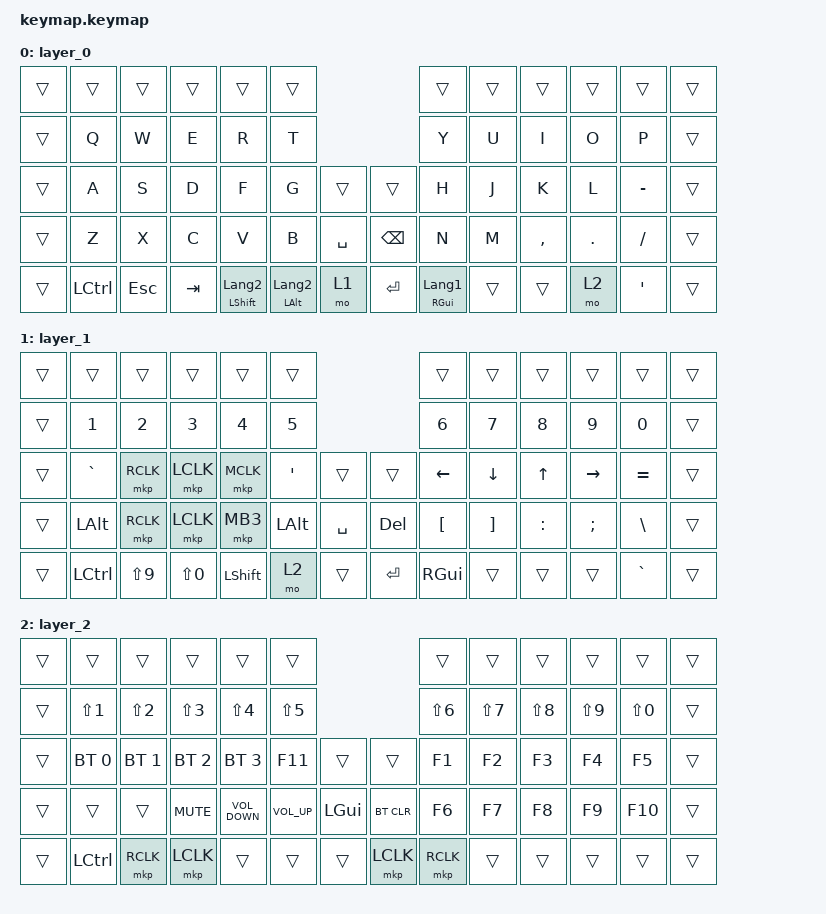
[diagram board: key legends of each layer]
#define ZMK_POINTING_DEFAULT_MOVE_VAL 600  // default: 600
#define ZMK_POINTING_DEFAULT_SCRL_VAL 10    // default: 10

#include <behaviors.dtsi>
#include <dt-bindings/zmk/bt.h>
#include <dt-bindings/zmk/keys.h>
#include <dt-bindings/zmk/pointing.h>

/ {
    combos {
        compatible = "zmk,combos";

        bt_clear {
            bindings = <&bt BT_CLR>;
            key-positions = <28 29>;
            layers = <2>;
        };
    };

    keymap {
        compatible = "zmk,keymap";

        layer_0 {
            bindings = <
&trans  &trans            &trans      &trans   &trans                     &trans                                             &trans                    &trans  &trans     &trans   &trans            &trans
&trans  &kp Q             &kp W       &kp E    &kp R                      &kp T                                              &kp Y                     &kp U   &kp I      &kp O    &kp P             &trans
&trans  &kp A             &kp S       &kp D    &kp F                      &kp G                    &trans     &trans         &kp H                     &kp J   &kp K      &kp L    &kp MINUS         &trans
&trans  &kp Z             &kp X       &kp C    &kp V                      &kp B                    &kp SPACE  &kp BACKSPACE  &kp N                     &kp M   &kp COMMA  &kp DOT  &kp SLASH         &trans
&trans  &kp LEFT_CONTROL  &kp ESCAPE  &kp TAB  &mt LEFT_SHIFT LANGUAGE_2  &mt LEFT_ALT LANGUAGE_2  &mo 1      &kp ENTER      &mt RIGHT_GUI LANGUAGE_1  &trans  &trans     &mo 2    &kp SINGLE_QUOTE  &trans
            >;
        };

        layer_1 {
            bindings = <
&trans  &trans            &trans        &trans        &trans          &trans                                   &trans            &trans             &trans        &trans           &trans         &trans
&trans  &kp NUMBER_1      &kp NUMBER_2  &kp NUMBER_3  &kp NUMBER_4    &kp NUMBER_5                             &kp NUMBER_6      &kp NUMBER_7       &kp NUMBER_8  &kp NUMBER_9     &kp NUMBER_0   &trans
&trans  &kp GRAVE         &mkp RCLK     &mkp LCLK     &mkp MCLK       &kp SINGLE_QUOTE  &trans     &trans      &kp LEFT_ARROW    &kp DOWN_ARROW     &kp UP_ARROW  &kp RIGHT_ARROW  &kp EQUAL      &trans
&trans  &kp LEFT_ALT      &mkp RCLK     &mkp LCLK     &mkp MB3        &kp LEFT_ALT      &kp SPACE  &kp DELETE  &kp LEFT_BRACKET  &kp RIGHT_BRACKET  &kp COLON     &kp SEMI         &kp BACKSLASH  &trans
&trans  &kp LEFT_CONTROL  &kp LS(N9)    &kp LS(N0)    &kp LEFT_SHIFT  &mo 2             &trans     &kp RET     &kp RIGHT_GUI     &trans             &trans        &trans           &kp GRAVE      &trans
            >;
        };

        layer_2 {
            bindings = <
&trans  &trans            &trans            &trans            &trans             &trans                                      &trans            &trans      &trans            &trans            &trans            &trans
&trans  &kp LS(NUMBER_1)  &kp LS(NUMBER_2)  &kp LS(NUMBER_3)  &kp LS(NUMBER_4)   &kp LS(NUMBER_5)                            &kp LS(NUMBER_6)  &kp LS(N7)  &kp LS(NUMBER_8)  &kp LS(NUMBER_9)  &kp LS(NUMBER_0)  &trans
&trans  &bt BT_SEL 0      &bt BT_SEL 1      &bt BT_SEL 2      &bt BT_SEL 3       &kp F11           &trans        &trans      &kp F1            &kp F2      &kp F3            &kp F4            &kp F5            &trans
&trans  &trans            &trans            &kp K_MUTE        &kp C_VOLUME_DOWN  &kp C_VOLUME_UP   &kp LEFT_GUI  &bt BT_CLR  &kp F6            &kp F7      &kp F8            &kp F9            &kp F10           &trans
&trans  &kp LEFT_CONTROL  &mkp RCLK         &mkp LCLK         &trans             &trans            &trans        &mkp LCLK   &mkp RCLK         &trans      &trans            &trans            &trans            &trans
            >;
        };
    };
};
